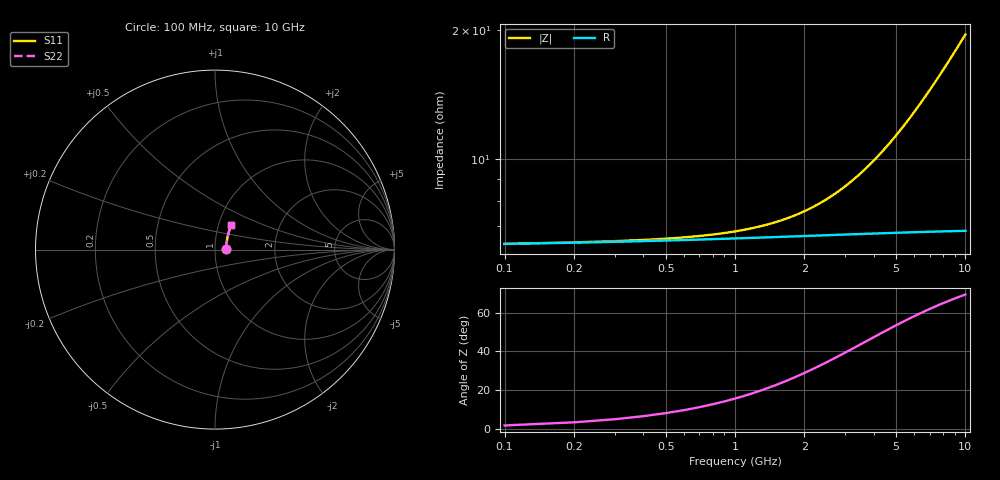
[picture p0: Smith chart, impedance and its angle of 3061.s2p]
# Hz S RI R 50.00
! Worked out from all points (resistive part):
!   100 points, 100 MHz to 10 GHz, reference 50 ohm
!   read as one part in series: R = 6.37 ohm at 100 MHz
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1e8  0.0599 0.00142  0.9401 -0.00181  0.9401 -0.00181  0.0599 0.00142
2e8  0.0603 0.00283  0.9397 -0.00362  0.9397 -0.00362  0.0603 0.00283
7e8  0.0613 0.00989  0.9387 -0.0127  0.9387 -0.0127  0.0613 0.00989
1e9  0.0618 0.0141  0.9382 -0.0181  0.9382 -0.0181  0.0618 0.0141
1.2e9  0.0621 0.0169  0.9379 -0.0217  0.9379 -0.0217  0.0621 0.0169
1.4e9  0.0624 0.0197  0.9375 -0.0253  0.9375 -0.0253  0.0624 0.0197
1.8e9  0.0631 0.0254  0.9369 -0.0325  0.9369 -0.0325  0.0631 0.0254
2.1e9  0.0636 0.0296  0.9364 -0.0378  0.9364 -0.0378  0.0636 0.0296
2.5e9  0.0643 0.0351  0.9357 -0.045  0.9357 -0.045  0.0643 0.0351
2.9e9  0.065 0.0407  0.9349 -0.0522  0.9349 -0.0522  0.065 0.0407
3.4e9  0.0661 0.0477  0.9338 -0.0611  0.9338 -0.0611  0.0661 0.0477
4.5e9  0.0687 0.0629  0.9311 -0.0806  0.9311 -0.0806  0.0687 0.0629
5.1e9  0.0704 0.0711  0.9294 -0.0912  0.9294 -0.0912  0.0704 0.0711
5.9e9  0.0729 0.082  0.9268 -0.1053  0.9268 -0.1053  0.0729 0.082
6.3e9  0.0743 0.0874  0.9254 -0.1123  0.9254 -0.1123  0.0743 0.0874
6.7e9  0.0758 0.0928  0.9239 -0.1192  0.9239 -0.1192  0.0758 0.0928
7.1e9  0.0773 0.0981  0.9223 -0.1262  0.9223 -0.1262  0.0773 0.0981
7.5e9  0.0789 0.1035  0.9206 -0.1331  0.9206 -0.1331  0.0789 0.1035
7.9e9  0.0806 0.1087  0.9189 -0.14  0.9189 -0.14  0.0806 0.1087
8.4e9  0.0828 0.1153  0.9166 -0.1485  0.9166 -0.1485  0.0828 0.1153
9.2e9  0.0866 0.1257  0.9127 -0.1621  0.9127 -0.1621  0.0866 0.1257
1e10  0.0906 0.1359  0.9085 -0.1755  0.9085 -0.1755  0.0906 0.1359
